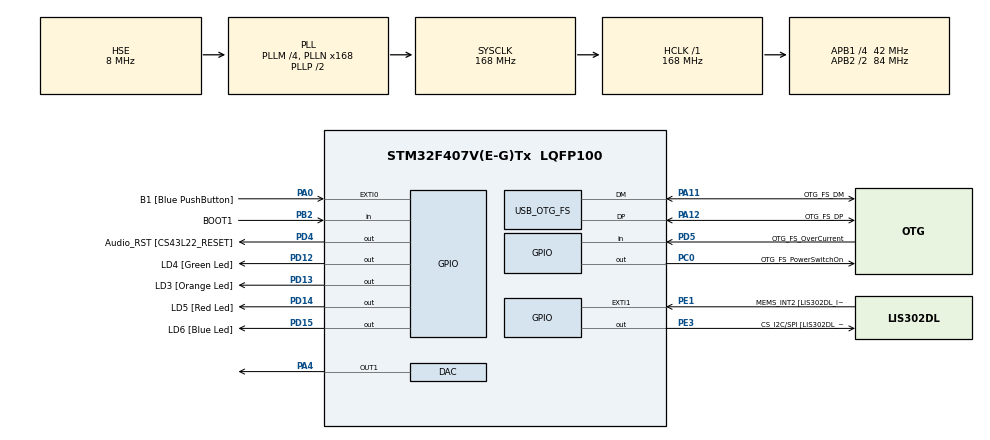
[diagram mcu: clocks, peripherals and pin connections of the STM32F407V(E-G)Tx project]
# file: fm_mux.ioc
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DAC.DAC_OutputBuffer=DAC_OUTPUTBUFFER_ENABLE
DAC.DAC_Trigger=DAC_TRIGGER_T6_TRGO
Dma.DAC1.0.Direction=DMA_MEMORY_TO_PERIPH
Dma.DAC1.0.FIFOMode=DMA_FIFOMODE_DISABLE
Dma.DAC1.0.Instance=DMA1_Stream5
Dma.DAC1.0.MemDataAlignment=DMA_MDATAALIGN_HALFWORD
Dma.DAC1.0.MemInc=DMA_MINC_ENABLE
Dma.DAC1.0.Mode=DMA_CIRCULAR
Dma.DAC1.0.PeriphDataAlignment=DMA_PDATAALIGN_HALFWORD
Dma.DAC1.0.PeriphInc=DMA_PINC_DISABLE
Dma.DAC1.0.Priority=DMA_PRIORITY_HIGH
Dma.Request0=DAC1
Mcu.Family=STM32F4
Mcu.Name=STM32F407V(E-G)Tx
Mcu.Package=LQFP100
NVIC.DMA1_Stream5_IRQn=true\:0\:0\:false\:false\:true\:false
NVIC.OTG_FS_IRQn=true\:0\:0\:false\:false\:true\:false
NVIC.PriorityGroup=NVIC_PRIORITYGROUP_0
PA0-WKUP.GPIO_Label=B1 [Blue PushButton]
PA0-WKUP.Signal=GPXTI0
PA10.GPIO_Label=OTG_FS_ID
PA10.GPIO_Mode=GPIO_MODE_AF_PP
PA10.GPIO_PuPd=GPIO_NOPULL
PA10.GPIO_Speed=GPIO_SPEED_FREQ_LOW
PA10.Signal=USB_OTG_FS_ID
PA11.GPIO_Label=OTG_FS_DM
PA11.GPIO_Mode=GPIO_MODE_AF_PP
PA11.GPIO_PuPd=GPIO_NOPULL
PA11.GPIO_Speed=GPIO_SPEED_FREQ_LOW
PA11.Mode=Device_Only
PA11.Signal=USB_OTG_FS_DM
PA12.GPIO_Label=OTG_FS_DP
PA12.GPIO_Mode=GPIO_MODE_AF_PP
PA12.GPIO_PuPd=GPIO_NOPULL
PA12.GPIO_Speed=GPIO_SPEED_FREQ_LOW
PA12.Mode=Device_Only
PA12.Signal=USB_OTG_FS_DP
PA13.GPIO_Label=SWDIO
PA13.Signal=SYS_JTMS-SWDIO
PA14.GPIO_Label=SWCLK
PA14.Signal=SYS_JTCK-SWCLK
PA4.Signal=COMP_DAC1_group
PA6.GPIO_Label=SPI1_MISO [LIS302DL_SDO]
PA6.GPIO_Mode=GPIO_MODE_AF_PP
PA6.GPIO_PuPd=GPIO_NOPULL
PA6.GPIO_Speed=GPIO_SPEED_FREQ_LOW
PA6.Signal=SPI1_MISO
PA7.GPIO_Label=SPI1_MOSI [LIS302DL_SDA/SDI/SDO]
PA7.GPIO_Mode=GPIO_MODE_AF_PP
PA7.GPIO_PuPd=GPIO_NOPULL
PA7.GPIO_Speed=GPIO_SPEED_FREQ_LOW
PA7.Signal=SPI1_MOSI
PA9.GPIO_Label=VBUS_FS
PA9.GPIO_Mode=GPIO_MODE_INPUT
PA9.GPIO_PuPd=GPIO_NOPULL
PA9.Signal=USB_OTG_FS_VBUS
PB10.GPIO_Label=CLK_IN [MP45DT02_CLK]
PB10.GPIO_Mode=GPIO_MODE_AF_PP
PB10.GPIO_PuPd=GPIO_NOPULL
PB10.GPIO_Speed=GPIO_SPEED_FREQ_LOW
PB10.Signal=I2S2_CK
PB2.GPIO_Label=BOOT1
PB2.GPIO_Mode=GPIO_MODE_INPUT
PB2.GPIO_PuPd=GPIO_NOPULL
PB2.Signal=GPIO_Input
PB3.GPIO_Label=SWO
PB3.Signal=SYS_JTDO-SWO
PB6.GPIO_Label=Audio_SCL [CS43L22_SCL]
PB6.GPIO_Mode=GPIO_MODE_AF_OD
PB6.GPIO_PuPd=GPIO_NOPULL
PB6.GPIO_Speed=GPIO_SPEED_FREQ_LOW
PB6.Signal=I2C1_SCL
PB9.GPIO_Label=Audio_SDA [CS43L22_SDA]
PB9.GPIO_Mode=GPIO_MODE_AF_OD
PB9.GPIO_PuPd=GPIO_NOPULL
PB9.GPIO_Speed=GPIO_SPEED_FREQ_LOW
PB9.Signal=I2C1_SDA
PC0.GPIO_Label=OTG_FS_PowerSwitchOn
PC0.GPIO_PuPd=GPIO_NOPULL
PC0.GPIO_Speed=GPIO_SPEED_FREQ_LOW
PC0.PinState=GPIO_PIN_SET
PC0.Signal=GPIO_Output
PC10.GPIO_Label=I2S3_SCK [CS43L22_SCLK]
PC10.GPIO_Mode=GPIO_MODE_AF_PP
PC10.GPIO_PuPd=GPIO_NOPULL
PC10.GPIO_Speed=GPIO_SPEED_FREQ_LOW
PC10.Signal=I2S3_CK
PC12.GPIO_Label=I2S3_SD [CS43L22_SDIN]
PC12.GPIO_Mode=GPIO_MODE_AF_PP
PC12.GPIO_PuPd=GPIO_NOPULL
PC12.GPIO_Speed=GPIO_SPEED_FREQ_LOW
PC12.Signal=I2S3_SD
PC14-OSC32_IN.GPIO_Label=PC14-OSC32_IN
PC14-OSC32_IN.Signal=RCC_OSC32_IN
PC15-OSC32_OUT.GPIO_Label=PC15-OSC32_OUT
PC15-OSC32_OUT.Signal=RCC_OSC32_OUT
PC3.GPIO_Label=PDM_OUT [MP45DT02_DOUT]
PC3.GPIO_Mode=GPIO_MODE_AF_PP
PC3.GPIO_PuPd=GPIO_NOPULL
PC3.GPIO_Speed=GPIO_SPEED_FREQ_LOW
PC3.Signal=I2S2_SD
PC7.GPIO_Label=I2S3_MCK [CS43L22_MCLK]
PC7.GPIO_Mode=GPIO_MODE_AF_PP
PC7.GPIO_PuPd=GPIO_NOPULL
PC7.GPIO_Speed=GPIO_SPEED_FREQ_LOW
PC7.Signal=I2S3_MCK
PD12.GPIO_Label=LD4 [Green Led]
PD12.GPIO_PuPd=GPIO_NOPULL
PD12.GPIO_Speed=GPIO_SPEED_FREQ_LOW
PD12.Signal=GPIO_Output
PD13.GPIO_Label=LD3 [Orange Led]
PD13.GPIO_PuPd=GPIO_NOPULL
PD13.GPIO_Speed=GPIO_SPEED_FREQ_LOW
PD13.Signal=GPIO_Output
PD14.GPIO_Label=LD5 [Red Led]
PD14.GPIO_PuPd=GPIO_NOPULL
PD14.GPIO_Speed=GPIO_SPEED_FREQ_LOW
PD14.Signal=GPIO_Output
PD15.GPIO_Label=LD6 [Blue Led]
PD15.GPIO_PuPd=GPIO_NOPULL
PD15.GPIO_Speed=GPIO_SPEED_FREQ_LOW
PD15.Signal=GPIO_Output
PD4.GPIO_Label=Audio_RST [CS43L22_RESET]
PD4.GPIO_PuPd=GPIO_NOPULL
PD4.GPIO_Speed=GPIO_SPEED_FREQ_LOW
PD4.Signal=GPIO_Output
PD5.GPIO_Label=OTG_FS_OverCurrent
PD5.GPIO_Mode=GPIO_MODE_INPUT
PD5.GPIO_PuPd=GPIO_NOPULL
PD5.Signal=GPIO_Input
PE1.GPIO_Label=MEMS_INT2 [LIS302DL_INT2]
PE1.GPIO_ModeDefaultEXTI=GPIO_MODE_EVT_RISING
PE1.GPIO_PuPd=GPIO_NOPULL
PE1.Signal=GPXTI1
PE3.GPIO_Label=CS_I2C/SPI [LIS302DL_CS_I2C/SPI]
PE3.GPIO_PuPd=GPIO_NOPULL
PE3.GPIO_Speed=GPIO_SPEED_FREQ_LOW
PE3.Signal=GPIO_Output
PH0-OSC_IN.GPIO_Label=PH0-OSC_IN
PH0-OSC_IN.Mode=HSE-External-Oscillator
PH0-OSC_IN.Signal=RCC_OSC_IN
PH1-OSC_OUT.GPIO_Label=PH1-OSC_OUT
PH1-OSC_OUT.Mode=HSE-External-Oscillator
PH1-OSC_OUT.Signal=RCC_OSC_OUT
ProjectManager.HeapSize=0x200
ProjectManager.StackSize=0x400
ProjectManager.TargetToolchain=TrueSTUDIO
RCC.48MHZClocksFreq_Value=48000000
RCC.AHBFreq_Value=168000000
RCC.APB1CLKDivider=RCC_HCLK_DIV4
RCC.APB1Freq_Value=42000000
RCC.APB1TimFreq_Value=84000000
RCC.APB2CLKDivider=RCC_HCLK_DIV2
RCC.APB2Freq_Value=84000000
RCC.APB2TimFreq_Value=168000000
RCC.CortexFreq_Value=168000000
RCC.HCLKFreq_Value=168000000
RCC.HSE_VALUE=8000000
RCC.HSI_VALUE=16000000
RCC.LSE_VALUE=32768
RCC.PLLM=4
RCC.PLLN=168
RCC.PLLQ=7
RCC.SYSCLKFreq_VALUE=168000000
RCC.SYSCLKSource=RCC_SYSCLKSOURCE_PLLCLK
RCC.VCOOutputFreq_Value=336000000
SH.COMP_DAC1_group.0=DAC_OUT1,DAC_OUT1
TIM6.Period=84
TIM6.TIM_MasterOutputTrigger=TIM_TRGO_UPDATE
USB_DEVICE.CLASS_NAME_FS=AUDIO
USB_DEVICE.USBD_AUDIO_FREQ-AUDIO_FS=38000
USB_DEVICE.VirtualMode-AUDIO_FS=Audio
USB_DEVICE.VirtualModeFS=Audio_FS
USB_OTG_FS.VirtualMode=Device_Only
VP_TIM6_VS_ClockSourceINT.Mode=Enable_Timer
VP_USB_DEVICE_VS_USB_DEVICE_AUDIO_FS.Mode=AUDIO_FS
board=STM32F4DISCOVERY

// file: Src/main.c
/**
  ******************************************************************************
  * File Name          : main.c
  * Description        : Main program body
  ******************************************************************************
  * This notice applies to any and all portions of this file
  * that are not between comment pairs USER CODE BEGIN and
  * USER CODE END. Other portions of this file, whether
  * inserted by the user or by software development tools
  * are owned by their respective copyright owners.
  *
  * Copyright (c) 2018 STMicroelectronics International N.V.
  * All rights reserved.
  *
  * Redistribution and use in source and binary forms, with or without
  * modification, are permitted, provided that the following conditions are met:
  *
  * 1. Redistribution of source code must retain the above copyright notice,
  *    this list of conditions and the following disclaimer.
  * 2. Redistributions in binary form must reproduce the above copyright notice,
  *    this list of conditions and the following disclaimer in the documentation
  *    and/or other materials provided with the distribution.
  * 3. Neither the name of STMicroelectronics nor the names of other
  *    contributors to this software may be used to endorse or promote products
  *    derived from this software without specific written permission.
  * 4. This software, including modifications and/or derivative works of this
  *    software, must execute solely and exclusively on microcontroller or
  *    microprocessor devices manufactured by or for STMicroelectronics.
  * 5. Redistribution and use of this software other than as permitted under
  *    this license is void and will automatically terminate your rights under
  *    this license.
  *
  * THIS SOFTWARE IS PROVIDED BY STMICROELECTRONICS AND CONTRIBUTORS "AS IS"
  * AND ANY EXPRESS, IMPLIED OR STATUTORY WARRANTIES, INCLUDING, BUT NOT
  * LIMITED TO, THE IMPLIED WARRANTIES OF MERCHANTABILITY, FITNESS FOR A
  * PARTICULAR PURPOSE AND NON-INFRINGEMENT OF THIRD PARTY INTELLECTUAL PROPERTY
  * RIGHTS ARE DISCLAIMED TO THE FULLEST EXTENT PERMITTED BY LAW. IN NO EVENT
  * SHALL STMICROELECTRONICS OR CONTRIBUTORS BE LIABLE FOR ANY DIRECT, INDIRECT,
  * INCIDENTAL, SPECIAL, EXEMPLARY, OR CONSEQUENTIAL DAMAGES (INCLUDING, BUT NOT
  * LIMITED TO, PROCUREMENT OF SUBSTITUTE GOODS OR SERVICES; LOSS OF USE, DATA,
  * OR PROFITS; OR BUSINESS INTERRUPTION) HOWEVER CAUSED AND ON ANY THEORY OF
  * LIABILITY, WHETHER IN CONTRACT, STRICT LIABILITY, OR TORT (INCLUDING
  * NEGLIGENCE OR OTHERWISE) ARISING IN ANY WAY OUT OF THE USE OF THIS SOFTWARE,
  * EVEN IF ADVISED OF THE POSSIBILITY OF SUCH DAMAGE.
  *
  ******************************************************************************
  */
#include "main.h"
#include "stm32f4xx_hal.h"
#include "usb_device.h"

/* USER CODE BEGIN Includes */
#include <math.h>
#include <string.h>
/* USER CODE END Includes */

DAC_HandleTypeDef hdac;
DMA_HandleTypeDef hdma_dac1;

TIM_HandleTypeDef htim6;

/* USER CODE BEGIN PV */
/* Private variables ---------------------------------------------------------*/
int16_t* audio_buffer;
size_t audio_buffer_size = 0;
size_t audio_buffer_pos = 0;
size_t pilot_pos = 0;

#define CARRIER_TABLE_SIZE 26
#define PILOT_TABLE_SIZE (2*CARRIER_TABLE_SIZE)

#define DAC_BUFFER_SIZE PILOT_TABLE_SIZE*100

uint16_t dac_buffer[DAC_BUFFER_SIZE];
float pilot_table[PILOT_TABLE_SIZE];
float carrier_table[CARRIER_TABLE_SIZE];
/* USER CODE END PV */

void SystemClock_Config(void);
static void MX_GPIO_Init(void);
static void MX_DMA_Init(void);
static void MX_DAC_Init(void);
static void MX_TIM6_Init(void);

/* USER CODE BEGIN PFP */
/* Private function prototypes -----------------------------------------------*/

/* USER CODE END PFP */

/* USER CODE BEGIN 0 */
void fill_buffer(int from, int to) {
  if (!audio_buffer) return;
  float sample_l = 0.0f;
  float sample_r = 0.0f;

  for (int i = from; i < to; i++) {
    if (pilot_pos % CARRIER_TABLE_SIZE == 0) {
      sample_l = audio_buffer[audio_buffer_pos]/32768.0f;
      sample_r = audio_buffer[audio_buffer_pos+1]/32768.0f;
      audio_buffer_pos = (audio_buffer_pos+2) % audio_buffer_size;
    }

    float pilot_sample = 0.091f * pilot_table[pilot_pos];

    float lr = 0.45f*(sample_l + sample_r);

    float lmr = (sample_l - sample_r);
    float mix =  0.461f * carrier_table[pilot_pos>>1] * lmr;

    uint16_t sample = (int16_t)((lr + mix + pilot_sample)*2048.0f) + 2048;
    //uint16_t sample = (int16_t)(lr*2048.0f) + 2048;

    dac_buffer[i] = sample;
    pilot_pos = (pilot_pos + 1) % PILOT_TABLE_SIZE;
  }
}

void HAL_DAC_ConvHalfCpltCallbackCh1(DAC_HandleTypeDef* hdac) {
  if (!audio_buffer) return;
  fill_buffer(0, DAC_BUFFER_SIZE/2);
}

void HAL_DAC_ConvCpltCallbackCh1(DAC_HandleTypeDef* hdac) {
  if (!audio_buffer) return;
  fill_buffer(DAC_BUFFER_SIZE/2, DAC_BUFFER_SIZE);
}
/* USER CODE END 0 */

int main(void)
{

  /* MCU Configuration----------------------------------------------------------*/

  /* Reset of all peripherals, Initializes the Flash interface and the Systick. */
  HAL_Init();

  /* Configure the system clock */
  SystemClock_Config();

  /* Initialize all configured peripherals */
  MX_GPIO_Init();
  MX_DMA_Init();
  MX_DAC_Init();
  MX_TIM6_Init();
  MX_USB_DEVICE_Init();

  /* USER CODE BEGIN 2 */
  for (int i = 0; i < PILOT_TABLE_SIZE; i++) {
    pilot_table[i] = sin((2.0f*M_PI*i)/(float)PILOT_TABLE_SIZE);
  }

  for (int i = 0; i < CARRIER_TABLE_SIZE; i++) {
    carrier_table[i] = sin(2.0f*(2.0f*M_PI*i)/(float)CARRIER_TABLE_SIZE);
  }

  HAL_TIM_Base_Start(&htim6);
  HAL_DAC_Start(&hdac, DAC_CHANNEL_1);
  HAL_DAC_Start_DMA(&hdac, DAC_CHANNEL_1, (uint32_t*)dac_buffer,
                    DAC_BUFFER_SIZE, DAC_ALIGN_12B_R);
  /* USER CODE END 2 */

  /* Infinite loop */
  while (1)
  {

  }

}

/** System Clock Configuration
*/
void SystemClock_Config(void)
{

  RCC_OscInitTypeDef RCC_OscInitStruct;
  RCC_ClkInitTypeDef RCC_ClkInitStruct;

    /**Configure the main internal regulator output voltage
    */
  __HAL_RCC_PWR_CLK_ENABLE();

  __HAL_PWR_VOLTAGESCALING_CONFIG(PWR_REGULATOR_VOLTAGE_SCALE1);

    /**Initializes the CPU, AHB and APB busses clocks
    */
  RCC_OscInitStruct.OscillatorType = RCC_OSCILLATORTYPE_HSE;
  RCC_OscInitStruct.HSEState = RCC_HSE_ON;
  RCC_OscInitStruct.PLL.PLLState = RCC_PLL_ON;
  RCC_OscInitStruct.PLL.PLLSource = RCC_PLLSOURCE_HSE;
  RCC_OscInitStruct.PLL.PLLM = 4;
  RCC_OscInitStruct.PLL.PLLN = 168;
  RCC_OscInitStruct.PLL.PLLP = RCC_PLLP_DIV2;
  RCC_OscInitStruct.PLL.PLLQ = 7;
  if (HAL_RCC_OscConfig(&RCC_OscInitStruct) != HAL_OK)
  {
    _Error_Handler(__FILE__, __LINE__);
  }

    /**Initializes the CPU, AHB and APB busses clocks
    */
  RCC_ClkInitStruct.ClockType = RCC_CLOCKTYPE_HCLK|RCC_CLOCKTYPE_SYSCLK
                              |RCC_CLOCKTYPE_PCLK1|RCC_CLOCKTYPE_PCLK2;
  RCC_ClkInitStruct.SYSCLKSource = RCC_SYSCLKSOURCE_PLLCLK;
  RCC_ClkInitStruct.AHBCLKDivider = RCC_SYSCLK_DIV1;
  RCC_ClkInitStruct.APB1CLKDivider = RCC_HCLK_DIV4;
  RCC_ClkInitStruct.APB2CLKDivider = RCC_HCLK_DIV2;

  if (HAL_RCC_ClockConfig(&RCC_ClkInitStruct, FLASH_LATENCY_5) != HAL_OK)
  {
    _Error_Handler(__FILE__, __LINE__);
  }

    /**Configure the Systick interrupt time
    */
  HAL_SYSTICK_Config(HAL_RCC_GetHCLKFreq()/1000);

    /**Configure the Systick
    */
  HAL_SYSTICK_CLKSourceConfig(SYSTICK_CLKSOURCE_HCLK);

  /* SysTick_IRQn interrupt configuration */
  HAL_NVIC_SetPriority(SysTick_IRQn, 0, 0);
}

/* DAC init function */
static void MX_DAC_Init(void)
{

  DAC_ChannelConfTypeDef sConfig;

    /**DAC Initialization
    */
  hdac.Instance = DAC;
  if (HAL_DAC_Init(&hdac) != HAL_OK)
  {
    _Error_Handler(__FILE__, __LINE__);
  }

    /**DAC channel OUT1 config
    */
  sConfig.DAC_Trigger = DAC_TRIGGER_T6_TRGO;
  sConfig.DAC_OutputBuffer = DAC_OUTPUTBUFFER_ENABLE;
  if (HAL_DAC_ConfigChannel(&hdac, &sConfig, DAC_CHANNEL_1) != HAL_OK)
  {
    _Error_Handler(__FILE__, __LINE__);
  }

}

/* TIM6 init function */
static void MX_TIM6_Init(void)
{

  TIM_MasterConfigTypeDef sMasterConfig;

  htim6.Instance = TIM6;
  htim6.Init.Prescaler = 0;
  htim6.Init.CounterMode = TIM_COUNTERMODE_UP;
  htim6.Init.Period = 84;
  if (HAL_TIM_Base_Init(&htim6) != HAL_OK)
  {
    _Error_Handler(__FILE__, __LINE__);
  }

  sMasterConfig.MasterOutputTrigger = TIM_TRGO_UPDATE;
  sMasterConfig.MasterSlaveMode = TIM_MASTERSLAVEMODE_DISABLE;
  if (HAL_TIMEx_MasterConfigSynchronization(&htim6, &sMasterConfig) != HAL_OK)
  {
    _Error_Handler(__FILE__, __LINE__);
  }

}

static void MX_DMA_Init(void)
{
  /* DMA controller clock enable */
  __HAL_RCC_DMA1_CLK_ENABLE();

  /* DMA interrupt init */
  /* DMA1_Stream5_IRQn interrupt configuration */
  HAL_NVIC_SetPriority(DMA1_Stream5_IRQn, 0, 0);
  HAL_NVIC_EnableIRQ(DMA1_Stream5_IRQn);

}

/** Configure pins as
        * Analog
        * Input
        * Output
        * EVENT_OUT
        * EXTI
     PC3   ------> I2S2_SD
     PA6   ------> SPI1_MISO
     PA7   ------> SPI1_MOSI
     PB10   ------> I2S2_CK
     PC7   ------> I2S3_MCK
     PC10   ------> I2S3_CK
     PC12   ------> I2S3_SD
     PB6   ------> I2C1_SCL
     PB9   ------> I2C1_SDA
*/
static void MX_GPIO_Init(void)
{

  GPIO_InitTypeDef GPIO_InitStruct;

  /* GPIO Ports Clock Enable */
  __HAL_RCC_GPIOE_CLK_ENABLE();
  __HAL_RCC_GPIOC_CLK_ENABLE();
  __HAL_RCC_GPIOH_CLK_ENABLE();
  __HAL_RCC_GPIOA_CLK_ENABLE();
  __HAL_RCC_GPIOB_CLK_ENABLE();
  __HAL_RCC_GPIOD_CLK_ENABLE();

  /*Configure GPIO pin Output Level */
  HAL_GPIO_WritePin(CS_I2C_SPI_GPIO_Port, CS_I2C_SPI_Pin, GPIO_PIN_RESET);

  /*Configure GPIO pin Output Level */
  HAL_GPIO_WritePin(OTG_FS_PowerSwitchOn_GPIO_Port, OTG_FS_PowerSwitchOn_Pin, GPIO_PIN_SET);

  /*Configure GPIO pin Output Level */
  HAL_GPIO_WritePin(GPIOD, LD4_Pin|LD3_Pin|LD5_Pin|LD6_Pin
                          |Audio_RST_Pin, GPIO_PIN_RESET);

  /*Configure GPIO pin : CS_I2C_SPI_Pin */
  GPIO_InitStruct.Pin = CS_I2C_SPI_Pin;
  GPIO_InitStruct.Mode = GPIO_MODE_OUTPUT_PP;
  GPIO_InitStruct.Pull = GPIO_NOPULL;
  GPIO_InitStruct.Speed = GPIO_SPEED_FREQ_LOW;
  HAL_GPIO_Init(CS_I2C_SPI_GPIO_Port, &GPIO_InitStruct);

  /*Configure GPIO pin : OTG_FS_PowerSwitchOn_Pin */
  GPIO_InitStruct.Pin = OTG_FS_PowerSwitchOn_Pin;
  GPIO_InitStruct.Mode = GPIO_MODE_OUTPUT_PP;
  GPIO_InitStruct.Pull = GPIO_NOPULL;
  GPIO_InitStruct.Speed = GPIO_SPEED_FREQ_LOW;
  HAL_GPIO_Init(OTG_FS_PowerSwitchOn_GPIO_Port, &GPIO_InitStruct);

  /*Configure GPIO pin : PDM_OUT_Pin */
  GPIO_InitStruct.Pin = PDM_OUT_Pin;
  GPIO_InitStruct.Mode = GPIO_MODE_AF_PP;
  GPIO_InitStruct.Pull = GPIO_NOPULL;
  GPIO_InitStruct.Speed = GPIO_SPEED_FREQ_LOW;
  GPIO_InitStruct.Alternate = GPIO_AF5_SPI2;
  HAL_GPIO_Init(PDM_OUT_GPIO_Port, &GPIO_InitStruct);

  /*Configure GPIO pin : B1_Pin */
  GPIO_InitStruct.Pin = B1_Pin;
  GPIO_InitStruct.Mode = GPIO_MODE_IT_RISING;
  GPIO_InitStruct.Pull = GPIO_NOPULL;
  HAL_GPIO_Init(B1_GPIO_Port, &GPIO_InitStruct);

  /*Configure GPIO pins : SPI1_MISO_Pin SPI1_MOSI_Pin */
  GPIO_InitStruct.Pin = SPI1_MISO_Pin|SPI1_MOSI_Pin;
  GPIO_InitStruct.Mode = GPIO_MODE_AF_PP;
  GPIO_InitStruct.Pull = GPIO_NOPULL;
  GPIO_InitStruct.Speed = GPIO_SPEED_FREQ_LOW;
  GPIO_InitStruct.Alternate = GPIO_AF5_SPI1;
  HAL_GPIO_Init(GPIOA, &GPIO_InitStruct);

  /*Configure GPIO pin : BOOT1_Pin */
  GPIO_InitStruct.Pin = BOOT1_Pin;
  GPIO_InitStruct.Mode = GPIO_MODE_INPUT;
  GPIO_InitStruct.Pull = GPIO_NOPULL;
  HAL_GPIO_Init(BOOT1_GPIO_Port, &GPIO_InitStruct);

  /*Configure GPIO pin : CLK_IN_Pin */
  GPIO_InitStruct.Pin = CLK_IN_Pin;
  GPIO_InitStruct.Mode = GPIO_MODE_AF_PP;
  GPIO_InitStruct.Pull = GPIO_NOPULL;
  GPIO_InitStruct.Speed = GPIO_SPEED_FREQ_LOW;
  GPIO_InitStruct.Alternate = GPIO_AF5_SPI2;
  HAL_GPIO_Init(CLK_IN_GPIO_Port, &GPIO_InitStruct);

  /*Configure GPIO pins : LD4_Pin LD3_Pin LD5_Pin LD6_Pin
                           Audio_RST_Pin */
  GPIO_InitStruct.Pin = LD4_Pin|LD3_Pin|LD5_Pin|LD6_Pin
                          |Audio_RST_Pin;
  GPIO_InitStruct.Mode = GPIO_MODE_OUTPUT_PP;
  GPIO_InitStruct.Pull = GPIO_NOPULL;
  GPIO_InitStruct.Speed = GPIO_SPEED_FREQ_LOW;
  HAL_GPIO_Init(GPIOD, &GPIO_InitStruct);

  /*Configure GPIO pins : I2S3_MCK_Pin I2S3_SCK_Pin I2S3_SD_Pin */
  GPIO_InitStruct.Pin = I2S3_MCK_Pin|I2S3_SCK_Pin|I2S3_SD_Pin;
  GPIO_InitStruct.Mode = GPIO_MODE_AF_PP;
  GPIO_InitStruct.Pull = GPIO_NOPULL;
  GPIO_InitStruct.Speed = GPIO_SPEED_FREQ_LOW;
  GPIO_InitStruct.Alternate = GPIO_AF6_SPI3;
  HAL_GPIO_Init(GPIOC, &GPIO_InitStruct);

  /*Configure GPIO pin : OTG_FS_OverCurrent_Pin */
  GPIO_InitStruct.Pin = OTG_FS_OverCurrent_Pin;
  GPIO_InitStruct.Mode = GPIO_MODE_INPUT;
  GPIO_InitStruct.Pull = GPIO_NOPULL;
  HAL_GPIO_Init(OTG_FS_OverCurrent_GPIO_Port, &GPIO_InitStruct);

  /*Configure GPIO pins : Audio_SCL_Pin Audio_SDA_Pin */
  GPIO_InitStruct.Pin = Audio_SCL_Pin|Audio_SDA_Pin;
  GPIO_InitStruct.Mode = GPIO_MODE_AF_OD;
  GPIO_InitStruct.Pull = GPIO_PULLUP;
  GPIO_InitStruct.Speed = GPIO_SPEED_FREQ_LOW;
  GPIO_InitStruct.Alternate = GPIO_AF4_I2C1;
  HAL_GPIO_Init(GPIOB, &GPIO_InitStruct);

  /*Configure GPIO pin : MEMS_INT2_Pin */
  GPIO_InitStruct.Pin = MEMS_INT2_Pin;
  GPIO_InitStruct.Mode = GPIO_MODE_EVT_RISING;
  GPIO_InitStruct.Pull = GPIO_NOPULL;
  HAL_GPIO_Init(MEMS_INT2_GPIO_Port, &GPIO_InitStruct);

}

void _Error_Handler(char * file, int line)
{
  while(1)
  {
  }
}

/************************ (C) COPYRIGHT STMicroelectronics *****END OF FILE****/
